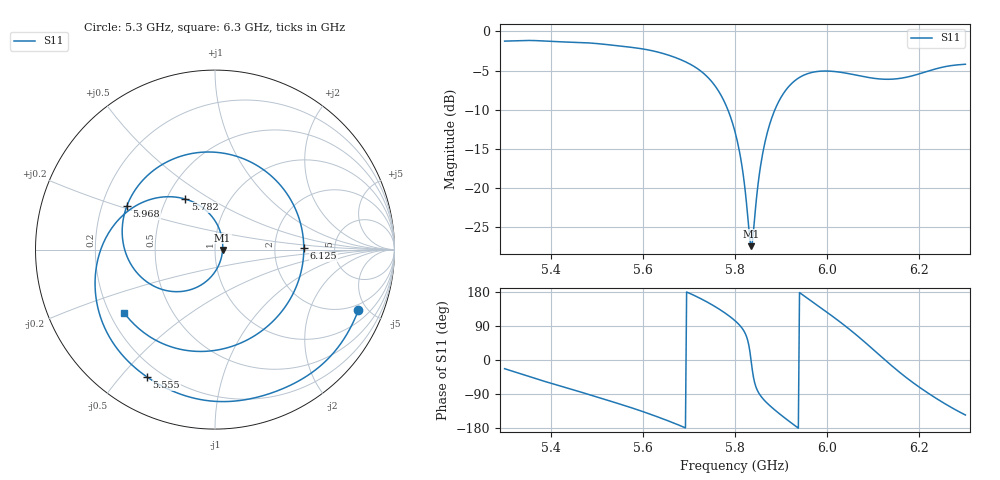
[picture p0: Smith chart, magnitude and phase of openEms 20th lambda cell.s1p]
! Created with skrf 1.8.0 (http://scikit-rf.org).
# Hz S RI R 50.0
!freq ReS11 ImS11
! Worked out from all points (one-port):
!   401 points, 5.3 GHz to 6.3 GHz, reference 50 ohm
!   lowest |S11| = -27.4 dB at 5.835 GHz (marker M1), VSWR 1.09, Z = 54.4 - j0.173 ohm
!   |S11| at or under -10 dB: 5.784 GHz to 5.887 GHz (102.2 MHz wide, 1.75 % of centre)
!   S11 on the Smith chart (normalised r, x): 5.3 GHz: 1.60, -4.37; 5.555 GHz: 0.15, -0.59; 5.782 GHz: 0.62, +0.39; 5.968 GHz: 0.31, +0.21; 6.125 GHz: 2.96, +0.05; 6.3 GHz: 0.26, -0.29
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5.3e9  0.7987 -0.3383
5.3675e9  0.5713 -0.6613
5.425e9  0.292 -0.8064
5.4875e9  -0.0416 -0.8415
5.55e9  -0.3568 -0.7241
5.555e9  -0.3793 -0.7091
5.62e9  -0.6151 -0.4346
5.675e9  -0.6636 -0.1141
5.74e9  -0.4554 0.2354
5.7825e9  -0.1654 0.2815
5.8e9  -0.0543 0.2221
5.815e9  0.0132 0.1379
5.83e9  0.0425 0.0345
5.835e9  0.0424 -0.00159
5.84e9  0.0372 -0.0373
5.855e9  -0.00826 -0.1352
5.87e9  -0.092 -0.2053
5.8975e9  -0.2939 -0.2223
5.925e9  -0.4618 -0.0927
5.9675e9  -0.4916 0.2413
6.0125e9  -0.2306 0.5056
6.05e9  0.0982 0.5262
6.09e9  0.3981 0.3152
6.125e9  0.4948 0.0068
6.175e9  0.3328 -0.3893
6.205e9  0.1319 -0.5253
6.235e9  -0.0999 -0.5671
6.3e9  -0.5062 -0.3529
